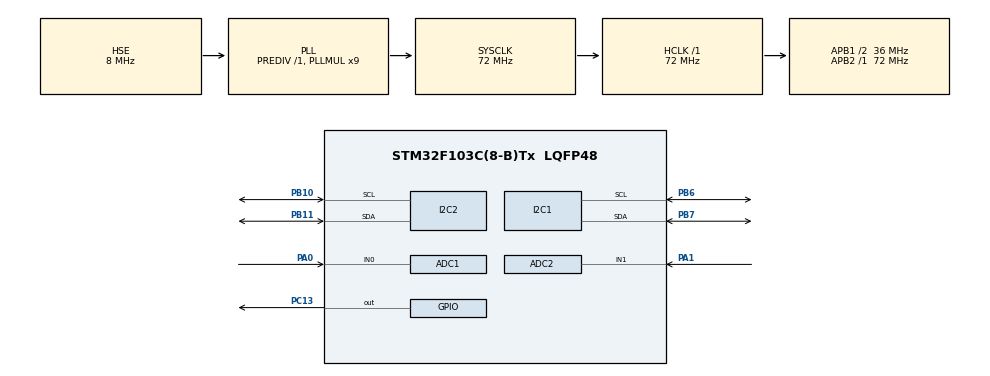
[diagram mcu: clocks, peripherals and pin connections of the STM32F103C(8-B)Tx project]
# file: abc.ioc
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ADC1.Channel-0\#ChannelRegularConversion=ADC_CHANNEL_0
ADC1.ContinuousConvMode=DISABLE
ADC1.EnableAnalogWatchDog=false
ADC1.EnableInjectedConversion=DISABLE
ADC1.ExternalTrigConv=ADC_EXTERNALTRIGCONV_T3_TRGO
ADC1.NbrOfConversion=1
ADC1.NbrOfConversionFlag=1
ADC1.Rank-0\#ChannelRegularConversion=1
ADC1.SamplingTime-0\#ChannelRegularConversion=ADC_SAMPLETIME_13CYCLES_5
ADC1.master=1
ADC2.Channel-5\#ChannelRegularConversion=ADC_CHANNEL_1
ADC2.ContinuousConvMode=DISABLE
ADC2.DiscontinuousConvMode=DISABLE
ADC2.NbrOfConversion=1
ADC2.NbrOfConversionFlag=1
ADC2.Rank-5\#ChannelRegularConversion=1
ADC2.SamplingTime-5\#ChannelRegularConversion=ADC_SAMPLETIME_13CYCLES_5
Dma.ADC1.0.Direction=DMA_PERIPH_TO_MEMORY
Dma.ADC1.0.Instance=DMA1_Channel1
Dma.ADC1.0.MemDataAlignment=DMA_MDATAALIGN_HALFWORD
Dma.ADC1.0.MemInc=DMA_MINC_ENABLE
Dma.ADC1.0.Mode=DMA_NORMAL
Dma.ADC1.0.PeriphDataAlignment=DMA_PDATAALIGN_HALFWORD
Dma.ADC1.0.PeriphInc=DMA_PINC_DISABLE
Dma.ADC1.0.Priority=DMA_PRIORITY_HIGH
Dma.Request0=ADC1
I2C1.I2C_Mode=I2C_Fast
I2C2.I2C_Mode=I2C_Fast
Mcu.Family=STM32F1
Mcu.Name=STM32F103C(8-B)Tx
Mcu.Package=LQFP48
NVIC.DMA1_Channel1_IRQn=true\:0\:0\:false\:false\:true\:false\:true\:true
NVIC.PriorityGroup=NVIC_PRIORITYGROUP_4
PA0-WKUP.Signal=ADCx_IN0
PA1.Signal=ADCx_IN1
PA13.Mode=Serial_Wire
PA13.Signal=SYS_JTMS-SWDIO
PA14.Mode=Serial_Wire
PA14.Signal=SYS_JTCK-SWCLK
PB10.Mode=I2C
PB10.Signal=I2C2_SCL
PB11.Mode=I2C
PB11.Signal=I2C2_SDA
PB6.Mode=I2C
PB6.Signal=I2C1_SCL
PB7.Mode=I2C
PB7.Signal=I2C1_SDA
PC13-TAMPER-RTC.Signal=GPIO_Output
PD0-OSC_IN.Mode=HSE-External-Oscillator
PD0-OSC_IN.Signal=RCC_OSC_IN
PD1-OSC_OUT.Mode=HSE-External-Oscillator
PD1-OSC_OUT.Signal=RCC_OSC_OUT
ProjectManager.HeapSize=0x1F00
ProjectManager.StackSize=0x400
ProjectManager.TargetToolchain=MDK-ARM V5.32
RCC.ADCPresc=RCC_ADCPCLK2_DIV6
RCC.AHBFreq_Value=72000000
RCC.APB1CLKDivider=RCC_HCLK_DIV2
RCC.APB1Freq_Value=36000000
RCC.APB1TimFreq_Value=72000000
RCC.APB2Freq_Value=72000000
RCC.APB2TimFreq_Value=72000000
RCC.HCLKFreq_Value=72000000
RCC.PLLMUL=RCC_PLL_MUL9
RCC.PLLSourceVirtual=RCC_PLLSOURCE_HSE
RCC.SYSCLKFreq_VALUE=72000000
RCC.SYSCLKSource=RCC_SYSCLKSOURCE_PLLCLK
RCC.USBFreq_Value=72000000
SH.ADCx_IN0.0=ADC1_IN0,IN0
SH.ADCx_IN1.0=ADC2_IN1,IN1
TIM3.Channel-PWM\ Generation1\ No\ Output=TIM_CHANNEL_1
TIM3.Period=2250-1
TIM3.Prescaler=0
TIM3.TIM_MasterOutputTrigger=TIM_TRGO_UPDATE
VP_TIM3_VS_ClockSourceINT.Mode=Internal
VP_TIM3_VS_no_output1.Mode=PWM Generation1 No Output
board=custom

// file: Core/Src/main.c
/* USER CODE BEGIN Header */
/**
  ******************************************************************************
  * @file           : main.c
  * @brief          : Main program body
  ******************************************************************************
  * @attention
  *
  * Copyright (c) 2024 STMicroelectronics.
  * All rights reserved.
  *
  * This software is licensed under terms that can be found in the LICENSE file
  * in the root directory of this software component.
  * If no LICENSE file comes with this software, it is provided AS-IS.
  *
  ******************************************************************************
  */
/* USER CODE END Header */
#include "main.h"

/* USER CODE BEGIN Includes */
#include "arm_math.h"  // CMSIS-DSP
#include <math.h>
#include "stdlib.h"
#include "stdio.h"
#include "arm_const_structs.h"
#include "arm_common_tables.h"
#include "i2c-lcd.h"
/* USER CODE END Includes */

/* USER CODE BEGIN PD */

#define SAMPLES 128  // S? di?m FFT
#define SAMPLING_RATE 16000  // T?n s? l?y m?u ADC
#define MCP4725_ADDRESS 0xC0
#define LCD_ADRESS 0x27<<1
/* USER CODE END PD */

/* USER CODE BEGIN PM */
volatile uint16_t adcBuf[SAMPLES];

//uint32_t *inBufptr = &adcBuf[0];
float32_t *input_fft = NULL;
//float32_t *fft_output = NULL;
float32_t fft_output[SAMPLES];
float32_t input_ifft[SAMPLES];
extern const float32_t coeff[3][3][3][129];

int taps =0;
float32_t dac_out[SAMPLES];
uint8_t *dac_dma_buff =NULL;
//uint8_t dac_dma_buff[SAMPLES*2];
uint16_t bass = 1,mid=1,tremble=1;
//float32_t real_output[SAMPLES];

arm_rfft_fast_instance_f32 fft_instance;

char bassgain[2];char midgain[2];char tremgain[2];
int process_ready = 0;
const float32_t hamming[128] =
{0.08000,0.08056,0.08225,0.08506,0.08898,0.09400,0.10012,0.10731,0.11556,0.12485,0.13516,0.14645,0.15871,0.17191,0.18600,0.20096,0.21675,0.23333,0.25066,0.26870,0.28740,0.30672,0.32661,0.34703,0.36792,0.38922,0.41090,0.43289,0.45515,0.47761,0.50022,0.52294,0.54569,0.56843,0.59110,0.61365,0.63601,0.65814,0.67998,0.70148,0.72258,0.74324,0.76340,0.78301,0.80203,0.82041,0.83810,0.85506,0.87125,0.88663,0.90116,0.91480,0.92753,0.93932,0.95012,0.95992,0.96869,0.97642,0.98308,0.98865,0.99312,0.99649,0.99873,0.99986,0.99986,0.99873,0.99649,0.99312,0.98865,0.98308,0.97642,0.96869,0.95992,0.95012,0.93932,0.92753,0.91480,0.90116,0.88663,0.87125,0.85506,0.83810,0.82041,0.80203,0.78301,0.76340,0.74324,0.72258,0.70148,0.67998,0.65814,0.63601,0.61365,0.59110,0.56843,0.54569,0.52294,0.50022,0.47761,0.45515,0.43289,0.41090,0.38922,0.36792,0.34703,0.32661,0.30672,0.28740,0.26870,0.25066,0.23333,0.21675,0.20096,0.18600,0.17191,0.15871,0.14645,0.13516,0.12485,0.11556,0.10731,0.10012,0.09400,0.08898,0.08506,0.08225,0.08056,0.08000};
/* USER CODE END PM */

ADC_HandleTypeDef hadc1;
ADC_HandleTypeDef hadc2;
DMA_HandleTypeDef hdma_adc1;

I2C_HandleTypeDef hi2c1;
I2C_HandleTypeDef hi2c2;

TIM_HandleTypeDef htim3;

/* USER CODE BEGIN PV */
ADC_ChannelConfTypeDef sConfig1 ;
/* USER CODE END PV */

void SystemClock_Config(void);
static void MX_GPIO_Init(void);
static void MX_DMA_Init(void);
static void MX_ADC1_Init(void);
static void MX_TIM3_Init(void);
static void MX_I2C1_Init(void);
static void MX_ADC2_Init(void);
static void MX_I2C2_Init(void);
/* USER CODE BEGIN PFP */
void Select_CH1(void){

	sConfig1.Channel = ADC_CHANNEL_1;
  sConfig1.Rank = 1;
  sConfig1.SamplingTime = ADC_SAMPLETIME_13CYCLES_5;
  if (HAL_ADC_ConfigChannel(&hadc2, &sConfig1) != HAL_OK)
  {
    Error_Handler();
  }
}
void Select_CH2(void){
	//  sConfig.Channel = ADC_CHANNEL_2;
	sConfig1.Channel = ADC_CHANNEL_2;
  sConfig1.Rank = 1;
	sConfig1.SamplingTime = ADC_SAMPLETIME_13CYCLES_5;
  if (HAL_ADC_ConfigChannel(&hadc2, &sConfig1) != HAL_OK)
  {
    Error_Handler();
  }
}
void Select_CH3(void){
	//  sConfig.Channel = ADC_CHANNEL_2;

	sConfig1.Channel = ADC_CHANNEL_3;
  sConfig1.Rank = 1;
	sConfig1.SamplingTime = ADC_SAMPLETIME_13CYCLES_5;
  if (HAL_ADC_ConfigChannel(&hadc2, &sConfig1) != HAL_OK)
  {
    Error_Handler();
  }
}

void get_gain(){
		Select_CH1();
    HAL_ADC_Start(&hadc2);
    HAL_ADC_PollForConversion(&hadc2, 100);
		if(HAL_ADC_GetValue(&hadc2)<1365){bass = 0;}
		else{
			if(HAL_ADC_GetValue(&hadc2)>2730){bass =2;}
			else bass=1;
		}
		sprintf(bassgain, "%d", bass);
		HAL_ADC_Stop(&hadc2);
		lcd_goto_XY(1,6);
		lcd_send_string(bassgain);

		Select_CH2();
		HAL_ADC_Start(&hadc2);
    HAL_ADC_PollForConversion(&hadc2, 100);
				if(HAL_ADC_GetValue(&hadc2)<1365){mid = 0;}
		else{
			if(HAL_ADC_GetValue(&hadc2)>2730){mid =2;}
			else mid=1;
		}
		HAL_ADC_Stop(&hadc2);
		sprintf(midgain, "%d", mid);
		lcd_goto_XY(1,14);
		lcd_send_string(midgain);

		Select_CH3();
		HAL_ADC_Start(&hadc2);
    HAL_ADC_PollForConversion(&hadc2, 100);
		if(HAL_ADC_GetValue(&hadc2)<1365){tremble = 0;}
		else{
			if(HAL_ADC_GetValue(&hadc2)>2730){tremble =2;}
			else tremble=1;
		}
		HAL_ADC_Stop(&hadc2);
		sprintf(tremgain, "%d", tremble);
		lcd_goto_XY(2,7);
		lcd_send_string(tremgain);
		taps = (int)coeff[bass][mid][tremble][128];
}
void apply_equalizer() {
		//Chuyen gia tri tu buffer DMA vao mang + zeropadding
		input_fft = (float32_t *)malloc(SAMPLES * sizeof(float32_t));
	//fft_output = (float32_t *)malloc(SAMPLES * sizeof(float32_t));
		for (int i = 0; i<SAMPLES;i++){
			if((i>taps/2-1)&(i<SAMPLES-taps/2)){
				*(input_fft+i) = adcBuf[i-taps/2]*hamming[i];}
			else{*(input_fft+i)=0;}
		}
		arm_rfft_fast_f32(&fft_instance, input_fft, fft_output, 0);
		//free(input_fft);
		arm_cmplx_mult_cmplx_f32(fft_output,(float32_t *)coeff[bass][mid][tremble],input_ifft,SAMPLES/2);
		arm_rfft_fast_f32(&fft_instance, input_ifft, dac_out, 1);
		free(input_fft);
		dac_dma_buff = (uint8_t *)malloc(2*(SAMPLES-taps+1)*sizeof(uint8_t));
		for (int i=taps-1;i<SAMPLES;i++){
				dac_dma_buff[2*(i-taps+1)] = ((uint16_t)(*(dac_out+i))>>8) & 0x0F;
				dac_dma_buff[2*(i-taps+1)+1] = ((uint16_t)(*(dac_out+i))) & 0xFF;
		}
		HAL_I2C_Master_Transmit(&hi2c1,MCP4725_ADDRESS, dac_dma_buff, 2*(SAMPLES-taps+1),10);
		free(dac_dma_buff);
		process_ready = 0;

//		HAL_GPIO_WritePin(GPIOC,GPIO_PIN_13,GPIO_PIN_RESET);
//			HAL_Delay(1000);

}

//void HAL_ADC_ConvHalfCpltCallback(ADC_HandleTypeDef*adc1){
//	inBufptr = &adcBuf[0];
//	process_ready = 1;
//}

void HAL_ADC_ConvCpltCallback(ADC_HandleTypeDef*adc1){
	//inBufptr = &adcBuf[SAMPLES];

	//apply_equalizer();
	process_ready = 1;

}

/* USER CODE END PFP */

int main(void)
{

  /* MCU Configuration--------------------------------------------------------*/

  /* Reset of all peripherals, Initializes the Flash interface and the Systick. */
  HAL_Init();

  /* Configure the system clock */
  SystemClock_Config();

  /* Initialize all configured peripherals */
  MX_GPIO_Init();
  MX_DMA_Init();
  MX_ADC1_Init();
  MX_TIM3_Init();
  MX_I2C1_Init();
  MX_ADC2_Init();
  MX_I2C2_Init();
  /* USER CODE BEGIN 2 */
	lcd_init();

	lcd_goto_XY(1,1);
	lcd_send_string("BASS");
	lcd_goto_XY(1,10);
	lcd_send_string("MID");
	lcd_goto_XY(2,0);
	lcd_send_string("TREMB");
	arm_rfft_fast_init_f32(&fft_instance, SAMPLES);
		get_gain();
	HAL_ADC_Start_DMA (&hadc1,(uint32_t*)adcBuf,SAMPLES-taps+1);
	HAL_TIM_Base_Start_IT(&htim3);
  /* USER CODE END 2 */

  /* Infinite loop */
  while (1)
  {

    /* USER CODE BEGIN 3 */
						get_gain();
		if (process_ready == 1){
			HAL_TIM_Base_Stop_IT(&htim3);
			apply_equalizer();
			HAL_ADC_Start_DMA(&hadc1,(uint32_t*)adcBuf,SAMPLES-taps+1);
			HAL_TIM_Base_Start_IT(&htim3);
		}
  }
  /* USER CODE END 3 */
}

void SystemClock_Config(void)
{
  RCC_OscInitTypeDef RCC_OscInitStruct = {0};
  RCC_ClkInitTypeDef RCC_ClkInitStruct = {0};
  RCC_PeriphCLKInitTypeDef PeriphClkInit = {0};

  /** Initializes the RCC Oscillators according to the specified parameters
  * in the RCC_OscInitTypeDef structure.
  */
  RCC_OscInitStruct.OscillatorType = RCC_OSCILLATORTYPE_HSE;
  RCC_OscInitStruct.HSEState = RCC_HSE_ON;
  RCC_OscInitStruct.HSEPredivValue = RCC_HSE_PREDIV_DIV1;
  RCC_OscInitStruct.HSIState = RCC_HSI_ON;
  RCC_OscInitStruct.PLL.PLLState = RCC_PLL_ON;
  RCC_OscInitStruct.PLL.PLLSource = RCC_PLLSOURCE_HSE;
  RCC_OscInitStruct.PLL.PLLMUL = RCC_PLL_MUL9;
  if (HAL_RCC_OscConfig(&RCC_OscInitStruct) != HAL_OK)
  {
    Error_Handler();
  }

  /** Initializes the CPU, AHB and APB buses clocks
  */
  RCC_ClkInitStruct.ClockType = RCC_CLOCKTYPE_HCLK|RCC_CLOCKTYPE_SYSCLK
                              |RCC_CLOCKTYPE_PCLK1|RCC_CLOCKTYPE_PCLK2;
  RCC_ClkInitStruct.SYSCLKSource = RCC_SYSCLKSOURCE_PLLCLK;
  RCC_ClkInitStruct.AHBCLKDivider = RCC_SYSCLK_DIV1;
  RCC_ClkInitStruct.APB1CLKDivider = RCC_HCLK_DIV2;
  RCC_ClkInitStruct.APB2CLKDivider = RCC_HCLK_DIV1;

  if (HAL_RCC_ClockConfig(&RCC_ClkInitStruct, FLASH_LATENCY_2) != HAL_OK)
  {
    Error_Handler();
  }
  PeriphClkInit.PeriphClockSelection = RCC_PERIPHCLK_ADC;
  PeriphClkInit.AdcClockSelection = RCC_ADCPCLK2_DIV6;
  if (HAL_RCCEx_PeriphCLKConfig(&PeriphClkInit) != HAL_OK)
  {
    Error_Handler();
  }
}

static void MX_ADC1_Init(void)
{

  ADC_ChannelConfTypeDef sConfig = {0};

  /** Common config
  */
  hadc1.Instance = ADC1;
  hadc1.Init.ScanConvMode = ADC_SCAN_DISABLE;
  hadc1.Init.ContinuousConvMode = DISABLE;
  hadc1.Init.DiscontinuousConvMode = DISABLE;
  hadc1.Init.ExternalTrigConv = ADC_EXTERNALTRIGCONV_T3_TRGO;
  hadc1.Init.DataAlign = ADC_DATAALIGN_RIGHT;
  hadc1.Init.NbrOfConversion = 1;
  if (HAL_ADC_Init(&hadc1) != HAL_OK)
  {
    Error_Handler();
  }

  /** Configure Regular Channel
  */
  sConfig.Channel = ADC_CHANNEL_0;
  sConfig.Rank = ADC_REGULAR_RANK_1;
  sConfig.SamplingTime = ADC_SAMPLETIME_13CYCLES_5;
  if (HAL_ADC_ConfigChannel(&hadc1, &sConfig) != HAL_OK)
  {
    Error_Handler();
  }

}

static void MX_ADC2_Init(void)
{

  ADC_ChannelConfTypeDef sConfig = {0};

  /** Common config
  */
  hadc2.Instance = ADC2;
  hadc2.Init.ScanConvMode = ADC_SCAN_DISABLE;
  hadc2.Init.ContinuousConvMode = DISABLE;
  hadc2.Init.DiscontinuousConvMode = DISABLE;
  hadc2.Init.ExternalTrigConv = ADC_SOFTWARE_START;
  hadc2.Init.DataAlign = ADC_DATAALIGN_RIGHT;
  hadc2.Init.NbrOfConversion = 1;
  if (HAL_ADC_Init(&hadc2) != HAL_OK)
  {
    Error_Handler();
  }

  /** Configure Regular Channel
  */
  sConfig.Channel = ADC_CHANNEL_1;
  sConfig.Rank = ADC_REGULAR_RANK_1;
  sConfig.SamplingTime = ADC_SAMPLETIME_13CYCLES_5;
  if (HAL_ADC_ConfigChannel(&hadc2, &sConfig) != HAL_OK)
  {
    Error_Handler();
  }

}

static void MX_I2C1_Init(void)
{

  hi2c1.Instance = I2C1;
  hi2c1.Init.ClockSpeed = 400000;
  hi2c1.Init.DutyCycle = I2C_DUTYCYCLE_2;
  hi2c1.Init.OwnAddress1 = 0;
  hi2c1.Init.AddressingMode = I2C_ADDRESSINGMODE_7BIT;
  hi2c1.Init.DualAddressMode = I2C_DUALADDRESS_DISABLE;
  hi2c1.Init.OwnAddress2 = 0;
  hi2c1.Init.GeneralCallMode = I2C_GENERALCALL_DISABLE;
  hi2c1.Init.NoStretchMode = I2C_NOSTRETCH_DISABLE;
  if (HAL_I2C_Init(&hi2c1) != HAL_OK)
  {
    Error_Handler();
  }

}

static void MX_I2C2_Init(void)
{

  hi2c2.Instance = I2C2;
  hi2c2.Init.ClockSpeed = 400000;
  hi2c2.Init.DutyCycle = I2C_DUTYCYCLE_2;
  hi2c2.Init.OwnAddress1 = 0;
  hi2c2.Init.AddressingMode = I2C_ADDRESSINGMODE_7BIT;
  hi2c2.Init.DualAddressMode = I2C_DUALADDRESS_DISABLE;
  hi2c2.Init.OwnAddress2 = 0;
  hi2c2.Init.GeneralCallMode = I2C_GENERALCALL_DISABLE;
  hi2c2.Init.NoStretchMode = I2C_NOSTRETCH_DISABLE;
  if (HAL_I2C_Init(&hi2c2) != HAL_OK)
  {
    Error_Handler();
  }

}

static void MX_TIM3_Init(void)
{

  TIM_ClockConfigTypeDef sClockSourceConfig = {0};
  TIM_MasterConfigTypeDef sMasterConfig = {0};
  TIM_OC_InitTypeDef sConfigOC = {0};

  htim3.Instance = TIM3;
  htim3.Init.Prescaler = 0;
  htim3.Init.CounterMode = TIM_COUNTERMODE_UP;
  htim3.Init.Period = 4500-1;
  htim3.Init.ClockDivision = TIM_CLOCKDIVISION_DIV1;
  htim3.Init.AutoReloadPreload = TIM_AUTORELOAD_PRELOAD_DISABLE;
  if (HAL_TIM_Base_Init(&htim3) != HAL_OK)
  {
    Error_Handler();
  }
  sClockSourceConfig.ClockSource = TIM_CLOCKSOURCE_INTERNAL;
  if (HAL_TIM_ConfigClockSource(&htim3, &sClockSourceConfig) != HAL_OK)
  {
    Error_Handler();
  }
  if (HAL_TIM_PWM_Init(&htim3) != HAL_OK)
  {
    Error_Handler();
  }
  sMasterConfig.MasterOutputTrigger = TIM_TRGO_UPDATE;
  sMasterConfig.MasterSlaveMode = TIM_MASTERSLAVEMODE_DISABLE;
  if (HAL_TIMEx_MasterConfigSynchronization(&htim3, &sMasterConfig) != HAL_OK)
  {
    Error_Handler();
  }
  sConfigOC.OCMode = TIM_OCMODE_PWM1;
  sConfigOC.Pulse = 0;
  sConfigOC.OCPolarity = TIM_OCPOLARITY_HIGH;
  sConfigOC.OCFastMode = TIM_OCFAST_DISABLE;
  if (HAL_TIM_PWM_ConfigChannel(&htim3, &sConfigOC, TIM_CHANNEL_1) != HAL_OK)
  {
    Error_Handler();
  }

}

static void MX_DMA_Init(void)
{

  /* DMA controller clock enable */
  __HAL_RCC_DMA1_CLK_ENABLE();

  /* DMA interrupt init */
  /* DMA1_Channel1_IRQn interrupt configuration */
  HAL_NVIC_SetPriority(DMA1_Channel1_IRQn, 0, 0);
  HAL_NVIC_EnableIRQ(DMA1_Channel1_IRQn);

}

static void MX_GPIO_Init(void)
{
  GPIO_InitTypeDef GPIO_InitStruct = {0};

  /* GPIO Ports Clock Enable */
  __HAL_RCC_GPIOC_CLK_ENABLE();
  __HAL_RCC_GPIOD_CLK_ENABLE();
  __HAL_RCC_GPIOA_CLK_ENABLE();
  __HAL_RCC_GPIOB_CLK_ENABLE();

  /*Configure GPIO pin Output Level */
  HAL_GPIO_WritePin(GPIOC, GPIO_PIN_13, GPIO_PIN_RESET);

  /*Configure GPIO pin : PC13 */
  GPIO_InitStruct.Pin = GPIO_PIN_13;
  GPIO_InitStruct.Mode = GPIO_MODE_OUTPUT_PP;
  GPIO_InitStruct.Pull = GPIO_NOPULL;
  GPIO_InitStruct.Speed = GPIO_SPEED_FREQ_LOW;
  HAL_GPIO_Init(GPIOC, &GPIO_InitStruct);

}

void Error_Handler(void)
{
  __disable_irq();
  while (1)
  {
  }
}
